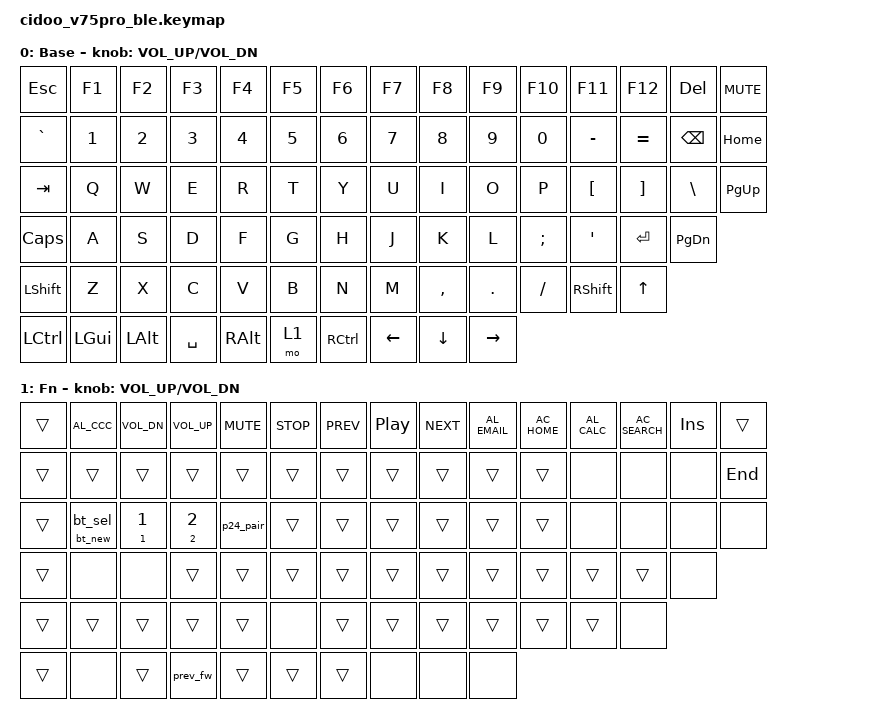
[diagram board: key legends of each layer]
/*
 * SPDX-License-Identifier: GPL-3.0-or-later
 */

/*
 * CIDOO V75 Pro keymap for the own BLE stack (TLSR_BLE) and the 2.4G link
 * (TLSR_P24); the same as cidoo_v75pro.keymap but for the original firmware's BT channel keys
 * (Fn + Q/W/E): a tap selects ZMK profile 0/1/2, held 3 s it selects it and clears
 * its bond; and the original firmware's 2.4G key (Fn + R): held 3 s in the 2.4G position, it pairs.
 * Generated by gen_v75pro.py from the original keymap's layers 0 (Base) and 1 (Fn).
 * Original knob: left = &kp C_VOL_DN, right = &kp C_VOL_UP, press = 0,14.
 */

#include <behaviors.dtsi>
#include <dt-bindings/zmk/keys.h>
#include <dt-bindings/zmk/bt.h>

/ {
    macros {
        bt_sel: bt_sel {
            compatible = "zmk,behavior-macro-one-param";
            #binding-cells = <1>;
            bindings = <&macro_param_1to2>, <&bt BT_SEL MACRO_PLACEHOLDER>;
        };
        bt_new: bt_new {
            compatible = "zmk,behavior-macro-one-param";
            #binding-cells = <1>;
            bindings = <&macro_param_1to2>, <&bt BT_SEL MACRO_PLACEHOLDER>, <&bt BT_CLR>;
        };
    };

    behaviors {
        /* The original firmware's 2.4G pairing key, Fn + R held 3 s (the 2.4G position only) */
        p24_pair: p24_pair {
            compatible = "zmk,behavior-p24-pair";
            #binding-cells = <0>;
            hold-ms = <3000>;
        };
        bt_ch: bt_ch {
            compatible = "zmk,behavior-hold-tap";
            #binding-cells = <2>;
            flavor = "tap-preferred";
            tapping-term-ms = <3000>;
            bindings = <&bt_new>, <&bt_sel>;
        };
    };

    keymap {
        compatible = "zmk,keymap";

        base_layer {
            display-name = "Base";
            bindings = <
                &kp ESC         &kp F1          &kp F2          &kp F3          &kp F4          &kp F5          &kp F6          &kp F7          &kp F8          &kp F9          &kp F10         &kp F11         &kp F12         &kp DEL         &kp C_MUTE
                &kp GRAVE       &kp N1          &kp N2          &kp N3          &kp N4          &kp N5          &kp N6          &kp N7          &kp N8          &kp N9          &kp N0          &kp MINUS       &kp EQUAL       &kp BSPC        &kp HOME
                &kp TAB         &kp Q           &kp W           &kp E           &kp R           &kp T           &kp Y           &kp U           &kp I           &kp O           &kp P           &kp LBKT        &kp RBKT        &kp BSLH        &kp PG_UP
                &kp CAPS        &kp A           &kp S           &kp D           &kp F           &kp G           &kp H           &kp J           &kp K           &kp L           &kp SEMI        &kp SQT         &kp RET         &kp PG_DN
                &kp LSHFT       &kp Z           &kp X           &kp C           &kp V           &kp B           &kp N           &kp M           &kp COMMA       &kp DOT         &kp FSLH        &kp RSHFT       &kp UP
                &kp LCTRL       &kp LGUI        &kp LALT        &kp SPACE       &kp RALT        &mo 1           &kp RCTRL       &kp LEFT        &kp DOWN        &kp RIGHT
            >;
            sensor-bindings = <&inc_dec_kp C_VOL_UP C_VOL_DN>;
        };

        fn_layer {
            /* Original bindings left out (matrix row,col):
             *   1,11: RGB_SPD (no RGB yet)
             *   1,12: RGB_SPI (no RGB yet)
             *   1,13: RGB_TOG (no RGB yet)
             *   2,11: RGB_SAI (no RGB yet)
             *   2,12: RGB_SAD (no RGB yet)
             *   2,13: RGB_MOD (no RGB yet)
             *   2,14: LED LOGO MODE (original firmware only)
             *   3,1: WIN MODE (original firmware only)
             *   3,2: MAC MODE (original firmware only)
             *   3,14: LED LOGO COLOUR (original firmware only)
             *   4,6: BATT ST (original firmware only)
             *   4,13: RGB_VAI (no RGB yet)
             *   5,1: LOCK WIN KEY (original firmware only)
             *   5,12: RGB_HUD (no RGB yet)
             *   5,13: RGB_VAD (no RGB yet)
             *   5,14: RGB_HUI (no RGB yet)
             */
            display-name = "Fn";
            bindings = <
                &trans          &kp C_AL_CCC    &kp C_VOL_DN    &kp C_VOL_UP    &kp C_MUTE      &kp C_STOP      &kp C_PREV      &kp C_PP        &kp C_NEXT      &kp C_AL_EMAIL  &kp C_AC_HOME   &kp C_AL_CALC   &kp C_AC_SEARCH &kp INS         &trans
                &trans          &trans          &trans          &trans          &trans          &trans          &trans          &trans          &trans          &trans          &trans          &none           &none           &none           &kp END
                &trans          &bt_ch 0 0      &bt_ch 1 1      &bt_ch 2 2      &p24_pair       &trans          &trans          &trans          &trans          &trans          &trans          &none           &none           &none           &none
                &trans          &none           &none           &trans          &trans          &trans          &trans          &trans          &trans          &trans          &trans          &trans          &trans          &none
                &trans          &trans          &trans          &trans          &trans          &none           &trans          &trans          &trans          &trans          &trans          &trans          &none
                &trans          &none           &trans          &prev_fw        &trans          &trans          &trans          &none           &none           &none
            >;
            sensor-bindings = <&inc_dec_kp C_VOL_UP C_VOL_DN>;
        };
    };
};

/* Not on these keyboards: &sys_reset only reboots (settings stay), and &bootloader has no
 * bootloader to enter (firmware updates go through the update tool). */
&sys_reset {
	status = "disabled";
};

&bootloader {
	status = "disabled";
};
